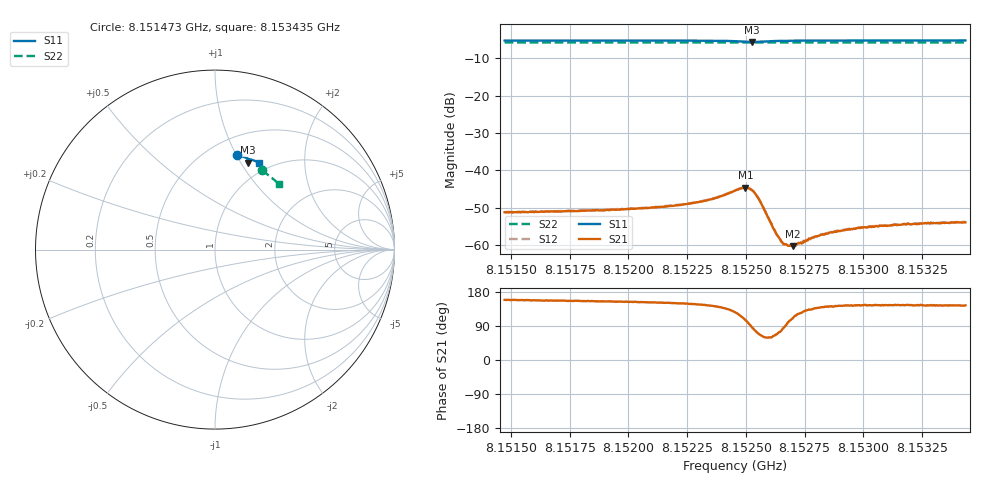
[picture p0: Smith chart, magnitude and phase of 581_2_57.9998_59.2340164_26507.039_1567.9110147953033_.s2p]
#  HZ  S  RI  R  50.00
! Rohde & Schwarz Vector Network Analyzer
! Rohde-Schwarz,ZNB20-2Port,1311601062101988,3.16
! Created: UTC 3/21/2024, 1:16:19 AM
! freq[Hz]  re:S11  im:S11  re:S21  im:S21  re:S12  im:S12  re:S22  im:S22
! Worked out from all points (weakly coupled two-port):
!   401 points, 8.151473 GHz to 8.153435 GHz, reference 50 ohm
!   highest |S21| = -44.57 dB at 8.152498 GHz (marker M1); lowest = -60.1 dB at 8.152699 GHz (marker M2)
!   lowest |S11| = -5.7 dB at 8.152527 GHz (marker M3), VSWR 3.15, Z = 40.6 + j53.7 ohm
!   |S11| at or under -10 dB: nowhere
!   |S22| runs from -5.9 to -5.8 dB; largest |S21 - S12| = 0.00012
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8.1514732e9  0.1222 0.5258  -0.00259 0.00101  -0.00256 0.00105  0.2595 0.4407
8.1518017e9  0.1451 0.5204  -0.00265 0.00121  -0.00264 0.00119  0.2772 0.4292
8.1521303e9  0.1686 0.5136  -0.00284 0.00154  -0.00285 0.00162  0.2944 0.4171
8.1522332e9  0.1764 0.5105  -0.00302 0.00179  -0.00301 0.00185  0.2996 0.4133
8.1523215e9  0.1836 0.507  -0.00323 0.00223  -0.00325 0.00225  0.3042 0.4097
8.1523755e9  0.1885 0.5037  -0.00336 0.00272  -0.00337 0.00276  0.307 0.4074
8.1524539e9  0.1943 0.4942  -0.00318 0.00437  -0.00313 0.00442  0.3106 0.4042
8.152498e9  0.1909 0.4854  -0.00158 0.0057  -0.00154 0.00577  0.3126 0.4021
8.1525275e9  0.1831 0.4842  0.000427 0.0054  0.000513 0.00543  0.3136 0.4012
8.1525422e9  0.1797 0.4867  0.00114 0.00466  0.00122 0.00471  0.3143 0.4006
8.1525569e9  0.1782 0.4902  0.00152 0.00377  0.00158 0.00379  0.3151 0.4002
8.1526206e9  0.1837 0.5007  0.000715 0.00146  0.000726 0.00147  0.3183 0.398
8.1526403e9  0.1865 0.5017  0.000377 0.00123  0.000422 0.0012  0.3193 0.3973
8.152655e9  0.1883 0.5021  0.000172 0.00108  0.000173 0.00109  0.3202 0.3967
8.1526648e9  0.1895 0.5023  4.26e-05 0.00103  3.21e-05 0.00104  0.3206 0.3963
8.1526991e9  0.1934 0.5024  -0.000333 0.000926  -0.000349 0.000931  0.3224 0.395
8.1527825e9  0.2014 0.5012  -0.000876 0.000911  -0.000886 0.000919  0.3265 0.3915
8.1528903e9  0.2101 0.4987  -0.00123 0.000946  -0.00122 0.000985  0.3318 0.3867
8.1529835e9  0.2169 0.4963  -0.00139 0.000986  -0.00141 0.00101  0.3362 0.3827
8.153111e9  0.2257 0.4929  -0.0015 0.00104  -0.00152 0.00109  0.3421 0.3775
8.1532679e9  0.2361 0.4883  -0.00159 0.00117  -0.00159 0.00116  0.3491 0.3704
8.1534347e9  0.2468 0.4833  -0.00165 0.00118  -0.00164 0.00125  0.3567 0.3629
